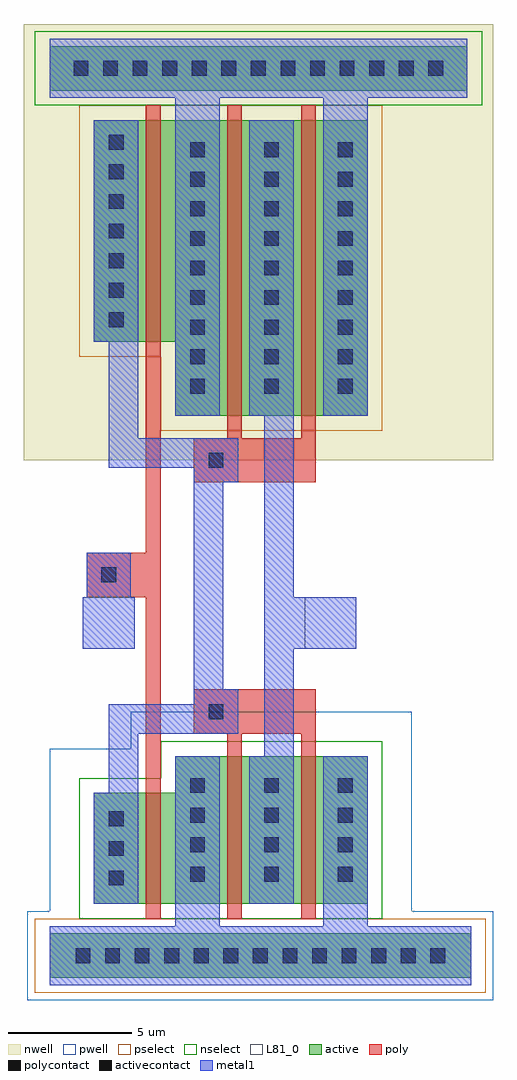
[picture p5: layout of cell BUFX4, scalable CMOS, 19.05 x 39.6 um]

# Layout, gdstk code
import gdstk
lib = gdstk.Library(unit=1e-6, precision=1e-09)
def R(c, l, rs):  # rectangles x0, y0, x1, y1
    for r in rs: c.add(gdstk.rectangle(r[:2], r[2:], *l))
def A(c, l, x, y, w, h, nx, ny, dx, dy):  # array of equal rectangles
    R(c, l, [(x+i*dx, y+j*dy, x+i*dx+w, y+j*dy+h) for i in range(nx) for j in range(ny)])
pwell = (41, 0)
nwell = (42, 0)
active = (43, 0)
pselect = (44, 0)
nselect = (45, 0)
poly = (46, 0)
polycontact = (47, 0)
activecontact = (48, 0)
metal1 = (49, 0)
L81_0 = (81, 0)

bufx4 = lib.new_cell('BUFX4')
R(bufx4, pwell, [(-1.8,-1.8,17.1,1.8), (-0.9,1.8,13.8,8.4), (2.4,8.4,13.8,9.9)])
R(bufx4, nwell, [(-1.95,20.1,17.1,37.8)])
R(bufx4, active, [(-0.9,-0.9,16.2,0.9), (0.9,2.1,12,6.6), (4.2,6.6,12,8.1), (4.2,21.9,12,24.9), (0.9,24.9,12,33.9), (-0.9,35.1,16.05,36.9)])
R(bufx4, pselect, [(-1.5,-1.5,16.8,1.5), (3.6,21.3,12.6,24.3), (0.3,24.3,12.6,34.5)])
R(bufx4, nselect, [(0.3,1.5,12.6,7.2), (3.6,7.2,12.6,8.7), (-1.5,34.5,16.65,37.5)])
R(bufx4, poly, [(3,1.5,3.6,14.55), (6.3,1.5,6.9,9), (9.3,1.5,9.9,9), (4.95,9,9.9,10.8), (0.6,14.55,3.6,16.35), (3,16.35,3.6,34.5), (4.95,19.2,9.9,21), (6.3,21,6.9,34.5), (9.3,21,9.9,34.5)])
R(bufx4, polycontact, [(5.55,9.6,6.15,10.2), (1.2,15.15,1.8,15.75), (5.55,19.8,6.15,20.4)])
A(bufx4, activecontact, 0.15, -0.3, 0.6, 0.6, 13, 1, 1.2, 0)
A(bufx4, activecontact, 1.5, 2.85, 0.6, 0.6, 1, 3, 0, 1.2)
A(bufx4, activecontact, 4.8, 3, 0.6, 0.6, 3, 4, 3, 1.2)
A(bufx4, activecontact, 4.8, 22.8, 0.6, 0.6, 3, 9, 3, 1.2)
A(bufx4, activecontact, 1.5, 25.5, 0.6, 0.6, 1, 7, 0, 1.2)
A(bufx4, activecontact, 0.07, 35.7, 0.6, 0.6, 13, 1, 1.2, 0)
R(bufx4, metal1, [(-0.9,-1.2,16.2,1.2), (4.2,1.2,6,8.1), (10.2,1.2,12,8.1), (0.9,2.1,2.7,6.6), (7.2,2.1,9,8.1), (1.5,6.6,2.7,9), (7.8,8.1,9,12.45), (1.5,9,6.75,10.2), (4.95,10.2,6.75,10.8), (4.95,10.8,6.15,19.2), (0.45,12.45,2.55,14.55), (7.8,12.45,11.55,14.55), (0.6,14.55,2.4,16.35), (7.8,14.55,9,21.9), (4.95,19.2,6.75,19.8), (1.5,19.8,6.75,21), (1.5,21,2.7,24.9), (4.2,21.9,6,34.8), (7.2,21.9,9,33.9), (10.2,21.9,12,34.8), (0.9,24.9,2.7,33.9), (-0.9,34.8,16.05,37.2)])
R(bufx4, L81_0, [(0.45,12.45,2.55,14.55), (9.45,12.45,11.55,14.55)])

lib.write_gds('BUFX4.gds')
